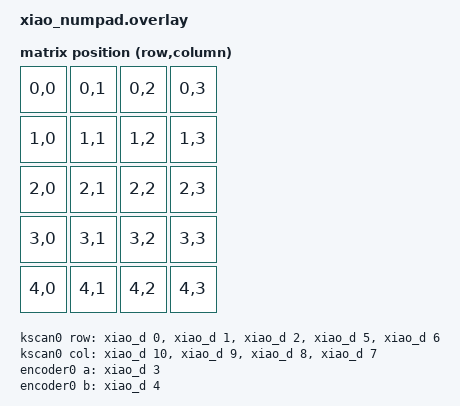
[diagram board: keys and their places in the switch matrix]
#include <dt-bindings/zmk/matrix_transform.h>

/ {
  chosen {
    zmk,kscan = &kscan0;
    zmk,matrix_transform = &transform0;
  };

  kscan0: kscan {
    compatible = "zmk,kscan-gpio-matrix";
    label = "KSCAN";
    diode-direction = "col2row";

    col-gpios = <&xiao_d 10 GPIO_ACTIVE_HIGH>, 
                <&xiao_d  9 GPIO_ACTIVE_HIGH>,
                <&xiao_d  8 GPIO_ACTIVE_HIGH>,
                <&xiao_d  7 GPIO_ACTIVE_HIGH>;

    row-gpios = <&xiao_d  0 (GPIO_ACTIVE_HIGH | GPIO_PULL_DOWN)>,
                <&xiao_d  1 (GPIO_ACTIVE_HIGH | GPIO_PULL_DOWN)>,
                <&xiao_d  2 (GPIO_ACTIVE_HIGH | GPIO_PULL_DOWN)>,
                <&xiao_d  5 (GPIO_ACTIVE_HIGH | GPIO_PULL_DOWN)>,
                <&xiao_d  6 (GPIO_ACTIVE_HIGH | GPIO_PULL_DOWN)>;
  };

  transform0: matrix_transform {
    compatible = "zmk,matrix-transform";
    rows = <4>;
    columns = <5>;

    map = <
            RC(0,0) RC(0,1) RC(0,2) RC(0,3)
            RC(1,0) RC(1,1) RC(1,2) RC(1,3)
            RC(2,0) RC(2,1) RC(2,2) RC(2,3)
            RC(3,0) RC(3,1) RC(3,2) RC(3,3)
            RC(4,0) RC(4,1) RC(4,2) RC(4,3)
          >;
  };

  encoder0: encoder {
    compatible = "alps,ec11";
    label = "ENCODER";
    a-gpios = <&xiao_d 3 (GPIO_ACTIVE_HIGH | GPIO_PULL_UP)>;
    b-gpios = <&xiao_d 4 (GPIO_ACTIVE_HIGH | GPIO_PULL_UP)>;
    resolution = <2>;
    status = "disabled";
  };

  sensors {
    compatible = "zmk,keymap-sensors";
    sensors = <&encoder0>;
  };

  &encoder0 {
    status = "okay";
  };
};
